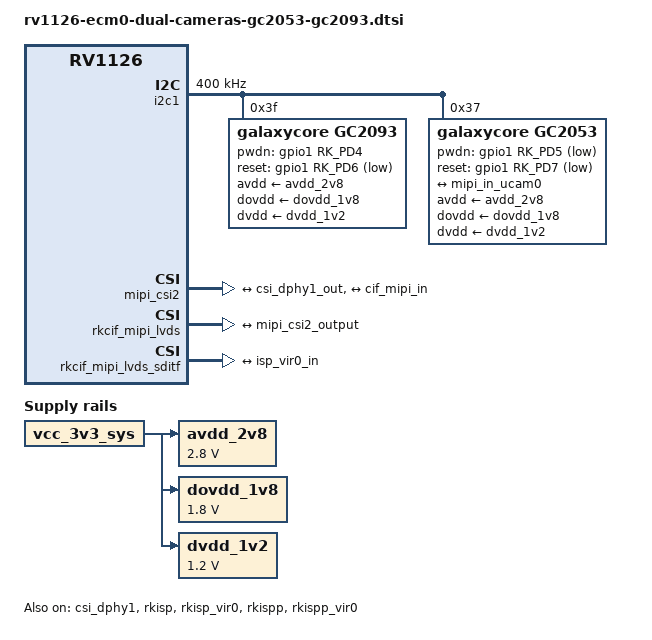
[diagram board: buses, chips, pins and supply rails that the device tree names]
// SPDX-License-Identifier: (GPL-2.0+ OR MIT)
/*
 * Copyright (c) 2022 Radxa Limited.
 *
 */

/ {
	compatible = "edgeble,edge-compute-module-0-carrier",
		     "edgeble,edge-compute-module-0", "rockchip,rv1126";

	avdd_2v8: avdd-2v8-regulator {
		compatible = "regulator-fixed";
		regulator-name = "avdd_2v8";
		regulator-always-on;
		regulator-boot-on;
		regulator-min-microvolt = <2800000>;
		regulator-max-microvolt = <2800000>;
		vin-supply = <&vcc_3v3_sys>;
	};

	dovdd_1v8: dovdd-1v8-regulator {
		compatible = "regulator-fixed";
		regulator-name = "dovdd_1v8";
		regulator-always-on;
		regulator-boot-on;
		regulator-min-microvolt = <1800000>;
		regulator-max-microvolt = <1800000>;
		vin-supply = <&vcc_3v3_sys>;
	};

	dvdd_1v2: dvdd-1v2-regulator {
		compatible = "regulator-fixed";
		regulator-name = "dvdd_1v2";
		regulator-always-on;
		regulator-boot-on;
		regulator-min-microvolt = <1200000>;
		regulator-max-microvolt = <1200000>;
		vin-supply = <&vcc_3v3_sys>;
	};
};

// --- J15 start

&i2c1 {
	status = "okay";
	clock-frequency = <400000>;

	gc2093: gc2093@3f {
		status = "okay";
		compatible = "galaxycore,gc2093";
		reg = <0x3f>;

		clocks = <&cru CLK_MIPICSI_OUT>;
		clock-names = "xvclk";

		power-domains = <&power RV1126_PD_VI>;
		pinctrl-names = "rockchip,camera_default";
		pinctrl-0 = <&mipicsi_clk0>;
		pwdn-gpios = <&gpio1 RK_PD4 GPIO_ACTIVE_HIGH>;
		reset-gpios = <&gpio1 RK_PD6 GPIO_ACTIVE_LOW>;

		avdd-supply = <&avdd_2v8>;
		dovdd-supply = <&dovdd_1v8>;
		dvdd-supply = <&dvdd_1v2>;

		rockchip,camera-module-index = <0>;
		rockchip,camera-module-facing = "front";
		rockchip,camera-module-name = "YT-RV1109-2-V1";
		rockchip,camera-module-lens-name = "40IR-2MP-F20";

		// port {
		// 	ucam_out0: endpoint {
		// 		remote-endpoint = <&mipi_in_ucam0>;
		// 		data-lanes = <1 2>;
		// 	};
		// };
	};
};

// --- J15 end

// --- j16 start

&i2c1 {
	status = "okay";
	clock-frequency = <400000>;

	gc2053: gc2053@37 {
		status = "okay";
		compatible = "galaxycore,gc2053";
		reg = <0x37>;

		clocks = <&cru CLK_MIPICSI_OUT>;
		clock-names = "xvclk";

		power-domains = <&power RV1126_PD_VI>;
		pinctrl-names = "rockchip,camera_default";
		pinctrl-0 = <&mipicsi_clk1>;
		pwdn-gpios = <&gpio1 RK_PD5 GPIO_ACTIVE_LOW>;
		reset-gpios = <&gpio1 RK_PD7 GPIO_ACTIVE_LOW>;

		avdd-supply = <&avdd_2v8>;
		dovdd-supply = <&dovdd_1v8>;
		dvdd-supply = <&dvdd_1v2>;

		rockchip,camera-module-index = <0>;
		rockchip,camera-module-facing = "front";
		rockchip,camera-module-name = "YT-RV1109-2-V1";
		rockchip,camera-module-lens-name = "40IR-2MP-F20";

		port {
			ucam_out0: endpoint {
				remote-endpoint = <&mipi_in_ucam0>;
				data-lanes = <1 2>;
			};
		};
	};
};

&csi_dphy1 {
	status = "okay";

	ports {
		#address-cells = <1>;
		#size-cells = <0>;

		port@0 {
			reg = <0>;
			#address-cells = <1>;
			#size-cells = <0>;

			mipi_in_ucam0: endpoint@1 {
				remote-endpoint = <&ucam_out0>;
				data-lanes = <1 2>;
			};
		};

		port@1 {
			reg = <1>;
			#address-cells = <1>;
			#size-cells = <0>;

			csi_dphy1_out: endpoint@0 {
				remote-endpoint = <&mipi_csi2_input>;
			};
		};
	};
};

&mipi_csi2 {
	status = "okay";

	ports {
		#address-cells = <1>;
		#size-cells = <0>;

		port@0 {
			reg = <0>;
			#address-cells = <1>;
			#size-cells = <0>;

			mipi_csi2_input: endpoint@1 {
				remote-endpoint = <&csi_dphy1_out>;
				data-lanes = <1 2>;
			};
		};

		port@1 {
			reg = <1>;
			#address-cells = <1>;
			#size-cells = <0>;

			mipi_csi2_output: endpoint@0 {
				remote-endpoint = <&cif_mipi_in>;
				data-lanes = <1 2>;
			};
		};
	};
};

&rkcif_mipi_lvds {
	status = "okay";

	port {
		cif_mipi_in: endpoint {
			remote-endpoint = <&mipi_csi2_output>;
			data-lanes = <1 2>;
		};
	};
};

&rkcif_mipi_lvds_sditf {
	status = "okay";

	port {
		mipi_lvds_sditf: endpoint {
			remote-endpoint = <&isp_vir0_in>;
			data-lanes = <1 2>;
		};
	};
};

/* isp cma buffer don't fiddle with it, dual camera(1920 * 1080) need 92M buffer
&isp_reserved {
	size = <0x5c00000>;
};
 */

&rkisp {
	status = "okay";
};

&rkisp_mmu {
	status = "disabled";
};

&rkisp_vir0 {
	status = "okay";

	ports {
		port@0 {
			reg = <0>;
			#address-cells = <1>;
			#size-cells = <0>;

			isp_vir0_in: endpoint@0 {
				reg = <0>;
				remote-endpoint = <&mipi_lvds_sditf>;
			};
		};
	};
};

&rkispp {
	status = "okay";
	/* the max input w h and fps of mulit sensor */
	max-input = <1920 1080 30>;
};

&rkispp_mmu {
	status = "okay";
};

&rkispp_vir0 {
	status = "okay";
};

// --- J16 end
